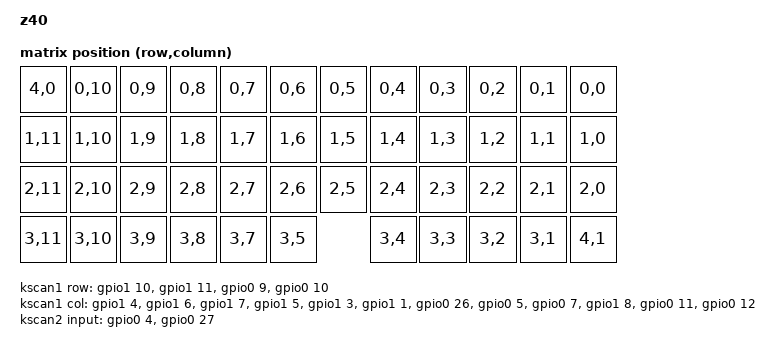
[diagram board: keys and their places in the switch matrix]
/*
 * Copyright (c) 2022 Pete Johanson
 *
 * SPDX-License-Identifier: MIT
 */

/dts-v1/;
#include <nordic/nrf52840_qiaa.dtsi>
#include <dt-bindings/zmk/matrix_transform.h>
#include "z40-layouts.dtsi"

&layout_ortho_4x12_1x2u {
	transform = <&mit_transform>;
};

/ {
	model = "z40";
	compatible = "quarkeys,z40";

	chosen {
		zephyr,code-partition = &code_partition;
		zephyr,sram = &sram0;
		zephyr,flash = &flash0;
		zmk,kscan = &kscan0;
		zmk,battery = &vbatt;
	};

	vbatt: vbatt {
		compatible = "zmk,battery-nrf-vddh";
	};

	mit_transform: mit_transform {
		compatible = "zmk,matrix-transform";
		rows = <4>;
		columns = <12>;

		map = <
	RC(4,0)  RC(0,10) RC(0,9) RC(0,8) RC(0,7) RC(0,6) RC(0,5) RC(0,4) RC(0,3) RC(0,2) RC(0,1) RC(0,0)
	RC(1,11) RC(1,10) RC(1,9) RC(1,8) RC(1,7) RC(1,6) RC(1,5) RC(1,4) RC(1,3) RC(1,2) RC(1,1) RC(1,0)
	RC(2,11) RC(2,10) RC(2,9) RC(2,8) RC(2,7) RC(2,6) RC(2,5) RC(2,4) RC(2,3) RC(2,2) RC(2,1) RC(2,0)
	RC(3,11) RC(3,10) RC(3,9) RC(3,8) RC(3,7)     RC(3,5)     RC(3,4) RC(3,3) RC(3,2) RC(3,1) RC(4,1)
	>;
	};

    kscan0: kscan_composite {
        compatible = "zmk,kscan-composite";
        rows = <5>;
        columns = <12>;

        // Include the matrix driver
        matrix {
            kscan = <&kscan1>;
        };

        // Include the direct GPIO driver...
        direct {
            kscan = <&kscan2>;
            row-offset = <4>; // ...and shift it to not overlap
        };
    };

	kscan1: kscan_matrix {
		compatible = "zmk,kscan-gpio-matrix";
		wakeup-source;
		debounce-press-ms = <1>;
		debounce-release-ms = <5>;

		diode-direction = "col2row";

		col-gpios
			= <&gpio1 4  (GPIO_ACTIVE_HIGH)>
			, <&gpio1 6  (GPIO_ACTIVE_HIGH)>
			, <&gpio1 7  (GPIO_ACTIVE_HIGH)>
			, <&gpio1 5  (GPIO_ACTIVE_HIGH)>
			, <&gpio1 3  (GPIO_ACTIVE_HIGH)>
			, <&gpio1 1  (GPIO_ACTIVE_HIGH)>
			, <&gpio0 26 (GPIO_ACTIVE_HIGH)>
			, <&gpio0 5  (GPIO_ACTIVE_HIGH)>
			, <&gpio0 7  (GPIO_ACTIVE_HIGH)>
			, <&gpio1 8  (GPIO_ACTIVE_HIGH)>
			, <&gpio0 11 (GPIO_ACTIVE_HIGH)>
			, <&gpio0 12 (GPIO_ACTIVE_HIGH)>
			;
		row-gpios
			= <&gpio1 10 (GPIO_ACTIVE_HIGH | GPIO_PULL_DOWN)>
			, <&gpio1 11 (GPIO_ACTIVE_HIGH | GPIO_PULL_DOWN)>
			, <&gpio0 9  (GPIO_ACTIVE_HIGH | GPIO_PULL_DOWN)>
			, <&gpio0 10 (GPIO_ACTIVE_HIGH | GPIO_PULL_DOWN)>
			;
	};

    kscan2: kscan_direct {
        compatible = "zmk,kscan-gpio-direct";
        wakeup-source;
        input-gpios
            = <&gpio0 4  (GPIO_ACTIVE_LOW | GPIO_PULL_UP)>
            , <&gpio0 27 (GPIO_ACTIVE_LOW | GPIO_PULL_UP)>
            ;
    };
};

&adc {
	status = "okay";
};

&gpiote {
	status = "okay";
};

&gpio0 {
	status = "okay";
};

&gpio1 {
	status = "okay";
};


zephyr_udc0: &usbd {
	status = "okay";
}; 


&flash0 {
	/*
	 * For more information, see:
	 * http://docs.zephyrproject.org/latest/devices/dts/flash_partitions.html
	 */
	partitions {
		compatible = "fixed-partitions";
		#address-cells = <1>;
		#size-cells = <1>;

		sd_partition: partition@0 {
			reg = <0x00000000 0x00001000>;
		};
		code_partition: partition@1000 {
			reg = <0x00001000 0x000d3000>;
		};

		storage_partition: partition@d4000 {
			reg = <0x000d4000 0x00020000>;
		};

		boot_partition: partition@f4000 {
			reg = <0x000f4000 0x0000c000>;
		};
	};
};
